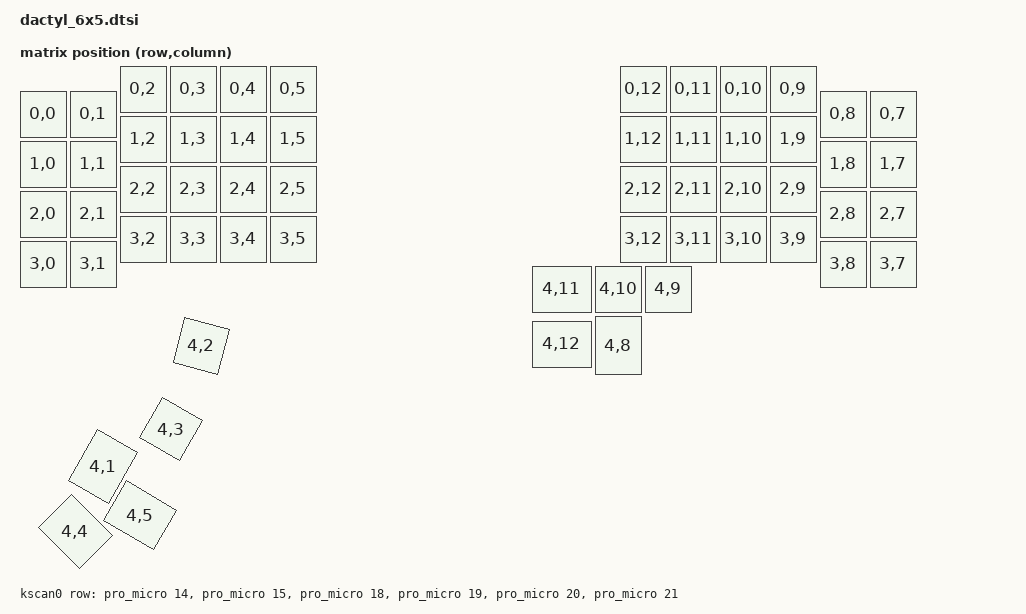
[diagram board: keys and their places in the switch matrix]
#include <dt-bindings/zmk/matrix_transform.h>
#include <physical_layouts.dtsi>

/ {
    chosen {
        zmk,kscan = &kscan0;
        zmk,physical-layout = &default_layout;
    };

    kscan0: kscan0 {
        compatible = "zmk,kscan-gpio-matrix";
        diode-direction = "col2row";
        wakeup-source;
        row-gpios
            = <&pro_micro 14 (GPIO_ACTIVE_HIGH | GPIO_PULL_DOWN)>
            , <&pro_micro 15 (GPIO_ACTIVE_HIGH | GPIO_PULL_DOWN)>
            , <&pro_micro 18 (GPIO_ACTIVE_HIGH | GPIO_PULL_DOWN)>
            , <&pro_micro 19 (GPIO_ACTIVE_HIGH | GPIO_PULL_DOWN)>
            , <&pro_micro 20 (GPIO_ACTIVE_HIGH | GPIO_PULL_DOWN)>
            , <&pro_micro 21 (GPIO_ACTIVE_HIGH | GPIO_PULL_DOWN)>
            ;
    };

    default_transform: keymap_transform0 {
        compatible = "zmk,matrix-transform";
        columns = <14>;
        rows = <6>;
        map = <
            RC(0,0) RC(0,1) RC(0,2) RC(0,3) RC(0,4) RC(0,5)
            RC(1,0) RC(1,1) RC(1,2) RC(1,3) RC(1,4) RC(1,5)
            RC(2,0) RC(2,1) RC(2,2) RC(2,3) RC(2,4) RC(2,5)
            RC(3,0) RC(3,1) RC(3,2) RC(3,3) RC(3,4) RC(3,5)
                    RC(4,1) RC(4,2) RC(4,3) RC(4,4) RC(4,5)
            
            RC(0,12) RC(0,11) RC(0,10) RC(0,9) RC(0,8) RC(0,7)
            RC(1,12) RC(1,11) RC(1,10) RC(1,9) RC(1,8) RC(1,7)
            RC(2,12) RC(2,11) RC(2,10) RC(2,9) RC(2,8) RC(2,7)
            RC(3,12) RC(3,11) RC(3,10) RC(3,9) RC(3,8) RC(3,7)
            RC(4,12) RC(4,11) RC(4,10) RC(4,9) RC(4,8)
        >;
    };

    default_layout: physical_layout_0 {
        compatible = "zmk,physical-layout";
        display-name = "Default";
        kscan = <&kscan0>;
        transform = <&default_transform>;
        keys
            /* left */
            = <&key_physical_attrs 100 100    0  50  0   0   0>
            , <&key_physical_attrs 100 100  100  50  0   0   0>
            , <&key_physical_attrs 100 100  200   0  0   0   0>
            , <&key_physical_attrs 100 100  300   0  0   0   0>
            , <&key_physical_attrs 100 100  400   0  0   0   0>
            , <&key_physical_attrs 100 100  500   0  0   0   0>
            , <&key_physical_attrs 100 100    0 150  0   0   0>
            , <&key_physical_attrs 100 100  100 150  0   0   0>
            , <&key_physical_attrs 100 100  200 100  0   0   0>
            , <&key_physical_attrs 100 100  300 100  0   0   0>
            , <&key_physical_attrs 100 100  400 100  0   0   0>
            , <&key_physical_attrs 100 100  500 100  0   0   0>
            , <&key_physical_attrs 100 100    0 250  0   0   0>
            , <&key_physical_attrs 100 100  100 250  0   0   0>
            , <&key_physical_attrs 100 100  200 200  0   0   0>
            , <&key_physical_attrs 100 100  300 200  0   0   0>
            , <&key_physical_attrs 100 100  400 200  0   0   0>
            , <&key_physical_attrs 100 100  500 200  0   0   0>
            , <&key_physical_attrs 100 100    0 350  0   0   0>
            , <&key_physical_attrs 100 100  100 350  0   0   0>
            , <&key_physical_attrs 100 100  200 300  0   0   0>
            , <&key_physical_attrs 100 100  300 300  0   0   0>
            , <&key_physical_attrs 100 100  400 300  0   0   0>
            , <&key_physical_attrs 100 100  500 300  0   0   0>
            /* Thumb left */
            , <&key_physical_attrs 100 125  500 550  3000   0   0> /* ctrl */
            , <&key_physical_attrs 100 100  450 400  1500   0   0> /* fn */
            , <&key_physical_attrs 100 100  580 430  3000   0   0> /* shift */
            , <&key_physical_attrs 125 100  680 530  4500   0   0> /* enter */
            , <&key_physical_attrs 125 100  600 610  3000   0   0> /* alt */
            
            /* right */
            , <&key_physical_attrs 100 100 1200   0  0   0   0>
            , <&key_physical_attrs 100 100 1300   0  0   0   0>
            , <&key_physical_attrs 100 100 1400   0  0   0   0>
            , <&key_physical_attrs 100 100 1500   0  0   0   0>
            , <&key_physical_attrs 100 100 1600  50  0   0   0>
            , <&key_physical_attrs 100 100 1700  50  0   0   0>
            , <&key_physical_attrs 100 100 1200 100  0   0   0>
            , <&key_physical_attrs 100 100 1300 100  0   0   0>
            , <&key_physical_attrs 100 100 1400 100  0   0   0>
            , <&key_physical_attrs 100 100 1500 100  0   0   0>
            , <&key_physical_attrs 100 100 1600 150  0   0   0>
            , <&key_physical_attrs 100 100 1700 150  0   0   0>
            , <&key_physical_attrs 100 100 1200 200  0   0   0>
            , <&key_physical_attrs 100 100 1300 200  0   0   0>
            , <&key_physical_attrs 100 100 1400 200  0   0   0>
            , <&key_physical_attrs 100 100 1500 200  0   0   0>
            , <&key_physical_attrs 100 100 1600 250  0   0   0>
            , <&key_physical_attrs 100 100 1700 250  0   0   0>
            , <&key_physical_attrs 100 100 1200 300  0   0   0>
            , <&key_physical_attrs 100 100 1300 300  0   0   0>
            , <&key_physical_attrs 100 100 1400 300  0   0   0>
            , <&key_physical_attrs 100 100 1500 300  0   0   0>
            , <&key_physical_attrs 100 100 1600 350  0   0   0>
            , <&key_physical_attrs 100 100 1700 350  0   0   0>
            /* Thumb right */
            , <&key_physical_attrs 125 100 1025 510  0   0   0> /* alt */
            , <&key_physical_attrs 125 100 1025 400  0   0   0> /* enter */
            , <&key_physical_attrs 100 100 1150 400  0   0   0> /* shift */
            , <&key_physical_attrs 100 100 1250 400  0   0   0> /* fn */
            , <&key_physical_attrs 100 125 1150 500  0   0   0> /* ctrl */
            ;
    };
};
